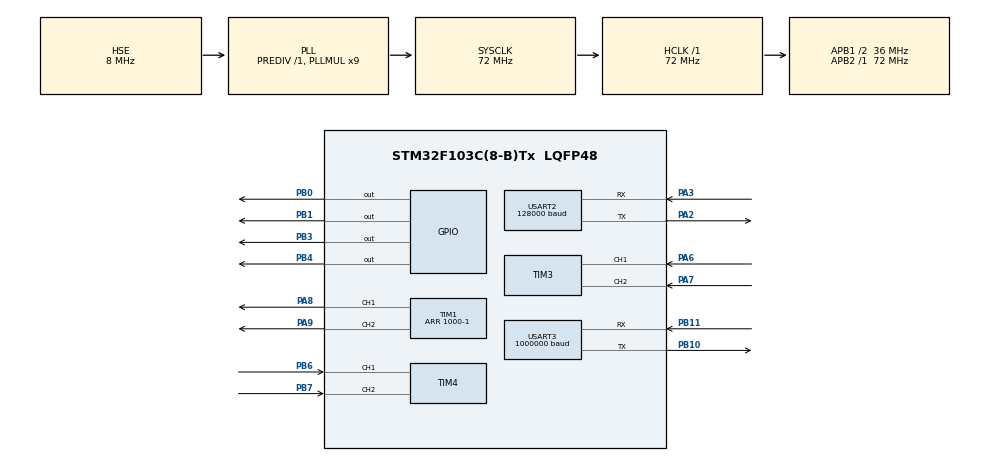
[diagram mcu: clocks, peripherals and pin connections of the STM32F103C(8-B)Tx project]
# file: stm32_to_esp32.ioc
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Mcu.Family=STM32F1
Mcu.Name=STM32F103C(8-B)Tx
Mcu.Package=LQFP48
NVIC.PriorityGroup=NVIC_PRIORITYGROUP_4
NVIC.TIM2_IRQn=true\:1\:0\:true\:false\:true\:true\:true\:true
NVIC.USART2_IRQn=true\:0\:0\:false\:false\:true\:true\:true\:true
NVIC.USART3_IRQn=true\:0\:0\:true\:false\:true\:true\:true\:true
PA13.Mode=Serial_Wire
PA13.Signal=SYS_JTMS-SWDIO
PA14.Mode=Serial_Wire
PA14.Signal=SYS_JTCK-SWCLK
PA2.Mode=Asynchronous
PA2.Signal=USART2_TX
PA3.Mode=Asynchronous
PA3.Signal=USART2_RX
PA6.Signal=S_TIM3_CH1
PA7.Signal=S_TIM3_CH2
PA8.Signal=S_TIM1_CH1
PA9.Signal=S_TIM1_CH2
PB0.GPIO_Speed=GPIO_SPEED_FREQ_HIGH
PB0.Signal=GPIO_Output
PB1.GPIO_Speed=GPIO_SPEED_FREQ_HIGH
PB1.PinState=GPIO_PIN_SET
PB1.Signal=GPIO_Output
PB10.Mode=Asynchronous
PB10.Signal=USART3_TX
PB11.Mode=Asynchronous
PB11.Signal=USART3_RX
PB3.GPIO_Speed=GPIO_SPEED_FREQ_HIGH
PB3.PinState=GPIO_PIN_SET
PB3.Signal=GPIO_Output
PB4.GPIO_Speed=GPIO_SPEED_FREQ_HIGH
PB4.Signal=GPIO_Output
PB6.Signal=S_TIM4_CH1
PB7.Signal=S_TIM4_CH2
PD0-OSC_IN.Mode=HSE-External-Oscillator
PD0-OSC_IN.Signal=RCC_OSC_IN
PD1-OSC_OUT.Mode=HSE-External-Oscillator
PD1-OSC_OUT.Signal=RCC_OSC_OUT
ProjectManager.HeapSize=0x200
ProjectManager.StackSize=0x400
ProjectManager.TargetToolchain=STM32CubeIDE
RCC.AHBFreq_Value=72000000
RCC.APB1CLKDivider=RCC_HCLK_DIV2
RCC.APB1Freq_Value=36000000
RCC.APB1TimFreq_Value=72000000
RCC.APB2Freq_Value=72000000
RCC.APB2TimFreq_Value=72000000
RCC.HCLKFreq_Value=72000000
RCC.PLLMUL=RCC_PLL_MUL9
RCC.PLLSourceVirtual=RCC_PLLSOURCE_HSE
RCC.SYSCLKFreq_VALUE=72000000
RCC.SYSCLKSource=RCC_SYSCLKSOURCE_PLLCLK
RCC.USBFreq_Value=72000000
SH.S_TIM1_CH1.0=TIM1_CH1,PWM Generation1 CH1
SH.S_TIM1_CH2.0=TIM1_CH2,PWM Generation2 CH2
SH.S_TIM3_CH1.0=TIM3_CH1,Encoder_Interface
SH.S_TIM3_CH2.0=TIM3_CH2,Encoder_Interface
SH.S_TIM4_CH1.0=TIM4_CH1,Encoder_Interface
SH.S_TIM4_CH2.0=TIM4_CH2,Encoder_Interface
TIM1.Channel-PWM\ Generation1\ CH1=TIM_CHANNEL_1
TIM1.Channel-PWM\ Generation2\ CH2=TIM_CHANNEL_2
TIM1.Period=1000-1
TIM2.Period=1000-1
TIM2.Prescaler=719
TIM3.EncoderMode=TIM_ENCODERMODE_TI12
TIM4.EncoderMode=TIM_ENCODERMODE_TI12
USART2.BaudRate=128000
USART2.VirtualMode=VM_ASYNC
USART3.BaudRate=1000000
USART3.VirtualMode=VM_ASYNC
VP_TIM1_VS_ClockSourceINT.Mode=Internal
VP_TIM2_VS_ClockSourceINT.Mode=Internal
board=custom

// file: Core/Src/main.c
/* USER CODE BEGIN Header */
/**
  ******************************************************************************
  * @file           : main.c
  * @brief          : Main program body
  ******************************************************************************
  * @attention
  *
  * Copyright (c) 2024 STMicroelectronics.
  * All rights reserved.
  *
  * This software is licensed under terms that can be found in the LICENSE file
  * in the root directory of this software component.
  * If no LICENSE file comes with this software, it is provided AS-IS.
  *
  ******************************************************************************
  */
/* USER CODE END Header */
#include "main.h"
#include "tim.h"
#include "usart.h"
#include "gpio.h"

/* USER CODE BEGIN Includes */
#include "UartBag.h"
#include "encoer.h"
/* USER CODE END Includes */

void SystemClock_Config(void);

/* USER CODE BEGIN 0 */
int speed = 1000 ,pos = 2000;
char o;
int pwm1,pwm2;
void HAL_TIM_PeriodElapsedCallback(TIM_HandleTypeDef *htim){
    if (htim == &htim2){

        encoder1.last_pulse = encoder1.pulse;
        encoder1.pulse = __HAL_TIM_GET_COUNTER(&htim3);

        encoder1.speed = encoder1.pulse - encoder1.last_pulse;

        encoder2.last_pulse = encoder2.pulse;
        encoder2.pulse = __HAL_TIM_GET_COUNTER(&htim4);

        encoder2.speed = encoder2.pulse - encoder2.last_pulse;

        print(&huart3,"@%da%db!", encoder1.speed,encoder2.speed);

//        while (o != 'a'){
//            (HAL_UART_Receive(&huart3,&o,1,0x0));
//        }
        ReceiveBag_3();
        print(&huart2,"%d,%d\r\n",encoder1.speed,encoder2.speed);
        number(bag,&pwm1,&pwm2);
        print(&huart2,"%d,%d\r\n",pwm1,pwm2);
        setpwm(pwm1,pwm2);

    }
}

void HAL_UART_RxCpltCallback(UART_HandleTypeDef *huart){
    if (huart==&huart2){
        if (first == '@') {
            val = 1;
            if (i == 0) {
                for (int j = 1; j < 15; ++j) {
                    bag[j] = ' ';
                }
            }
            if (i > 0 && bag[i - 1] == '!' || out == '!') {
                if (out != '!')
                    bag[i - 1] = ' ';
                first = '1';
                out = ' ';
            } else if (i <= 14)
                HAL_UART_Receive_IT(&huart2, &bag[i++], 1);
            else
                HAL_UART_Receive_IT(&huart2, &out, 1);
        } else {
            first = '1';
            i = 0;
            val = 0;
        }
    } else if (huart==&huart3){
        if (first == '#') {
            val = 1;
            if (i == 0) {
                for (int j = 1; j < 15; ++j) {
                    bag[j] = ' ';
                }
            }
            if (i > 0 && bag[i - 1] == '!' || out == '!') {
                if (out != '!')
                    bag[i - 1] = ' ';
                first = '1';
                out = ' ';
            } else if (i <= 14)
                HAL_UART_Receive_IT(&huart3, &bag[i++], 1);
            else
                HAL_UART_Receive_IT(&huart3, &out, 1);
        } else {
            first = '1';
            i = 0;
            val = 0;
        }
    }
}
/* USER CODE END 0 */

int main(void)
{

  /* MCU Configuration--------------------------------------------------------*/

  /* Reset of all peripherals, Initializes the Flash interface and the Systick. */
  HAL_Init();

  /* Configure the system clock */
  SystemClock_Config();

    HAL_Delay(1000);
    /* Initialize all configured peripherals */
    MX_GPIO_Init();
    MX_USART3_UART_Init();
    MX_USART2_UART_Init();
    MX_TIM2_Init();
    MX_TIM1_Init();
    MX_TIM3_Init();
    MX_TIM4_Init();
    /* USER CODE BEGIN 2 */

    HAL_TIM_Base_Start(&htim1);
    HAL_TIM_Base_Start_IT(&htim2);
    HAL_TIM_Base_Start_IT(&htim3);
    HAL_TIM_Base_Start_IT(&htim4);

    HAL_TIM_Encoder_Start(&htim3,TIM_CHANNEL_ALL);
    HAL_TIM_Encoder_Start(&htim4,TIM_CHANNEL_ALL);
    HAL_TIM_PWM_Start(&htim1,TIM_CHANNEL_1);
    HAL_TIM_PWM_Start(&htim1,TIM_CHANNEL_2);

//    HAL_TIM_Base_Start_IT(&htim2);
    /* USER CODE END 2 */

    /* Infinite loop */
    /* USER CODE BEGIN WHILE */
    HAL_UART_Transmit(&huart2,"a",1,0xff);
    print(&huart2,"a");
  while (1)
  {

//      if (ReceiveBag_3()){
//          test();
//      }
    /* USER CODE END WHILE */

  }
}

void SystemClock_Config(void)
{
  RCC_OscInitTypeDef RCC_OscInitStruct = {0};
  RCC_ClkInitTypeDef RCC_ClkInitStruct = {0};

  /** Initializes the RCC Oscillators according to the specified parameters
  * in the RCC_OscInitTypeDef structure.
  */
  RCC_OscInitStruct.OscillatorType = RCC_OSCILLATORTYPE_HSE;
  RCC_OscInitStruct.HSEState = RCC_HSE_ON;
  RCC_OscInitStruct.HSEPredivValue = RCC_HSE_PREDIV_DIV1;
  RCC_OscInitStruct.HSIState = RCC_HSI_ON;
  RCC_OscInitStruct.PLL.PLLState = RCC_PLL_ON;
  RCC_OscInitStruct.PLL.PLLSource = RCC_PLLSOURCE_HSE;
  RCC_OscInitStruct.PLL.PLLMUL = RCC_PLL_MUL9;
  if (HAL_RCC_OscConfig(&RCC_OscInitStruct) != HAL_OK)
  {
    Error_Handler();
  }

  /** Initializes the CPU, AHB and APB buses clocks
  */
  RCC_ClkInitStruct.ClockType = RCC_CLOCKTYPE_HCLK|RCC_CLOCKTYPE_SYSCLK
                              |RCC_CLOCKTYPE_PCLK1|RCC_CLOCKTYPE_PCLK2;
  RCC_ClkInitStruct.SYSCLKSource = RCC_SYSCLKSOURCE_PLLCLK;
  RCC_ClkInitStruct.AHBCLKDivider = RCC_SYSCLK_DIV1;
  RCC_ClkInitStruct.APB1CLKDivider = RCC_HCLK_DIV2;
  RCC_ClkInitStruct.APB2CLKDivider = RCC_HCLK_DIV1;

  if (HAL_RCC_ClockConfig(&RCC_ClkInitStruct, FLASH_LATENCY_2) != HAL_OK)
  {
    Error_Handler();
  }
}

void Error_Handler(void)
{
  __disable_irq();
  while (1)
  {
  }
}
